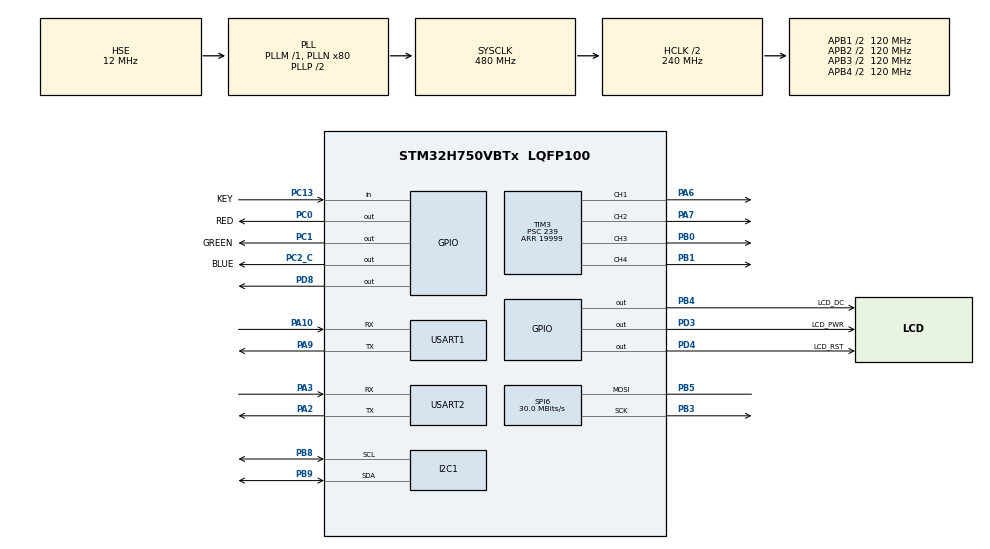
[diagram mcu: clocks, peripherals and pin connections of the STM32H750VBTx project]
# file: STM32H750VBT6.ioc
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CORTEX_M7.CPU_DCache=Enabled
CORTEX_M7.CPU_ICache=Enabled
CORTEX_M7.MPU_Control=__NULL
I2C1.Timing=0x307075B1
Mcu.Family=STM32H7
Mcu.Name=STM32H750VBTx
Mcu.Package=LQFP100
NVIC.PriorityGroup=NVIC_PRIORITYGROUP_2
NVIC.USART1_IRQn=true\:0\:0\:false\:false\:true\:true\:true\:true
NVIC.USART2_IRQn=true\:0\:0\:false\:false\:true\:true\:true\:true
PA10.Mode=Asynchronous
PA10.Signal=USART1_RX
PA13\ (JTMS/SWDIO).Mode=Serial_Wire
PA13\ (JTMS/SWDIO).Signal=DEBUG_JTMS-SWDIO
PA14\ (JTCK/SWCLK).Mode=Serial_Wire
PA14\ (JTCK/SWCLK).Signal=DEBUG_JTCK-SWCLK
PA2.Mode=Asynchronous
PA2.Signal=USART2_TX
PA3.Mode=Asynchronous
PA3.Signal=USART2_RX
PA6.Signal=S_TIM3_CH1
PA7.Signal=S_TIM3_CH2
PA9.Mode=Asynchronous
PA9.Signal=USART1_TX
PB0.Signal=S_TIM3_CH3
PB1.Signal=S_TIM3_CH4
PB3\ (JTDO/TRACESWO).GPIO_PuPd=GPIO_PULLUP
PB3\ (JTDO/TRACESWO).Mode=Simplex_Bidirectional_Master
PB3\ (JTDO/TRACESWO).Signal=SPI6_SCK
PB4\ (NJTRST).GPIO_Label=LCD_DC
PB4\ (NJTRST).GPIO_PuPd=GPIO_PULLUP
PB4\ (NJTRST).Signal=GPIO_Output
PB5.GPIO_PuPd=GPIO_PULLUP
PB5.Mode=Simplex_Bidirectional_Master
PB5.Signal=SPI6_MOSI
PB8.Mode=I2C
PB8.Signal=I2C1_SCL
PB9.Mode=I2C
PB9.Signal=I2C1_SDA
PC0.GPIO_Label=RED
PC0.GPIO_PuPd=GPIO_PULLUP
PC0.PinState=GPIO_PIN_SET
PC0.Signal=GPIO_Output
PC1.GPIO_Label=GREEN
PC1.GPIO_PuPd=GPIO_PULLUP
PC1.GPIO_Speed=GPIO_SPEED_FREQ_LOW
PC1.PinState=GPIO_PIN_SET
PC1.Signal=GPIO_Output
PC13.GPIO_Label=KEY
PC13.GPIO_PuPd=GPIO_PULLUP
PC13.Signal=GPIO_Input
PC14-OSC32_IN\ (OSC32_IN).Mode=LSE-External-Oscillator
PC14-OSC32_IN\ (OSC32_IN).Signal=RCC_OSC32_IN
PC15-OSC32_OUT\ (OSC32_OUT).Mode=LSE-External-Oscillator
PC15-OSC32_OUT\ (OSC32_OUT).Signal=RCC_OSC32_OUT
PC2_C.GPIO_Label=BLUE
PC2_C.GPIO_PuPd=GPIO_PULLUP
PC2_C.PinState=GPIO_PIN_SET
PC2_C.Signal=GPIO_Output
PD3.GPIO_Label=LCD_PWR
PD3.GPIO_PuPd=GPIO_PULLUP
PD3.Signal=GPIO_Output
PD4.GPIO_Label=LCD_RST
PD4.GPIO_PuPd=GPIO_PULLUP
PD4.Signal=GPIO_Output
PD8.Signal=GPIO_Output
PH0-OSC_IN\ (PH0).Mode=HSE-External-Oscillator
PH0-OSC_IN\ (PH0).Signal=RCC_OSC_IN
PH1-OSC_OUT\ (PH1).Mode=HSE-External-Oscillator
PH1-OSC_OUT\ (PH1).Signal=RCC_OSC_OUT
ProjectManager.HeapSize=0x800
ProjectManager.StackSize=0x800
ProjectManager.TargetToolchain=MDK-ARM V5
RCC.ADCFreq_Value=480000000
RCC.APB1Freq_Value=120000000
RCC.APB2Freq_Value=120000000
RCC.APB3Freq_Value=120000000
RCC.APB4Freq_Value=120000000
RCC.CortexFreq_Value=480000000
RCC.D1PPRE=RCC_APB3_DIV2
RCC.D2PPRE1=RCC_APB1_DIV2
RCC.D2PPRE2=RCC_APB2_DIV2
RCC.D3PPRE=RCC_APB4_DIV2
RCC.DIVM1=1
RCC.DIVM2=1
RCC.DIVM3=1
RCC.DIVN1=80
RCC.DIVN2=80
RCC.DIVN3=80
RCC.FLatency=FLASH_LATENCY_4
RCC.HCLKFreq_Value=240000000
RCC.HPRE=RCC_HCLK_DIV2
RCC.HSE_VALUE=12000000
RCC.PLLFRACN=0
RCC.PLLSourceVirtual=RCC_PLLSOURCE_HSE
RCC.PWR_Regulator_Voltage_Scale=PWR_REGULATOR_VOLTAGE_SCALE0
RCC.ProductRev=revV
RCC.SYSCLKFreq_VALUE=480000000
RCC.SYSCLKSource=RCC_SYSCLKSOURCE_PLLCLK
RCC.USBFreq_Value=480000000
SH.S_TIM3_CH1.0=TIM3_CH1,PWM Generation1 CH1
SH.S_TIM3_CH2.0=TIM3_CH2,PWM Generation2 CH2
SH.S_TIM3_CH3.0=TIM3_CH3,PWM Generation3 CH3
SH.S_TIM3_CH4.0=TIM3_CH4,PWM Generation4 CH4
SPI6.BaudRatePrescaler=SPI_BAUDRATEPRESCALER_4
SPI6.CLKPhase=SPI_PHASE_2EDGE
SPI6.CLKPolarity=SPI_POLARITY_HIGH
SPI6.CalculateBaudRate=30.0 MBits/s
SPI6.DataSize=SPI_DATASIZE_8BIT
SPI6.Direction=SPI_DIRECTION_1LINE
SPI6.Mode=SPI_MODE_MASTER
SPI6.VirtualType=VM_MASTER
TIM3.AutoReloadPreload=TIM_AUTORELOAD_PRELOAD_ENABLE
TIM3.Channel-PWM\ Generation1\ CH1=TIM_CHANNEL_1
TIM3.Channel-PWM\ Generation2\ CH2=TIM_CHANNEL_2
TIM3.Channel-PWM\ Generation3\ CH3=TIM_CHANNEL_3
TIM3.Channel-PWM\ Generation4\ CH4=TIM_CHANNEL_4
TIM3.Period=19999
TIM3.Prescaler=239
TIM3.Pulse-PWM\ Generation1\ CH1=18479
TIM3.Pulse-PWM\ Generation2\ CH2=18479
TIM3.Pulse-PWM\ Generation3\ CH3=18479
TIM3.Pulse-PWM\ Generation4\ CH4=18479
USART1.VirtualMode-Asynchronous=VM_ASYNC
USART2.VirtualMode-Asynchronous=VM_ASYNC
VP_TIM3_VS_ClockSourceINT.Mode=Internal
board=custom

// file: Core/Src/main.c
/* USER CODE BEGIN Header */
/**
  ******************************************************************************
  * @file           : main.c
  * @brief          : Main program body
  ******************************************************************************
  * @attention
  *
  * <h2><center>&copy; Copyright (c) 2021 STMicroelectronics.
  * All rights reserved.</center></h2>
  *
  * This software component is licensed by ST under BSD 3-Clause license,
  * the "License"; You may not use this file except in compliance with the
  * License. You may obtain a copy of the License at:
  *                        opensource.org/licenses/BSD-3-Clause
  *
  ******************************************************************************
  */
/* USER CODE END Header */
#include "main.h"
#include "i2c.h"
#include "spi.h"
#include "tim.h"
#include "usart.h"
#include "gpio.h"

/* USER CODE BEGIN Includes */
#include "BSP_GPIO.h"
#include "BSP_USART.h"
#include "BSP_spi.h"
#include "stdio.h"
#include "tftlcd.h"
#include "lora_cfg.h"
#include "mpu6050.h"
/* USER CODE END Includes */

/* USER CODE BEGIN PV */
u8 rx2_buf;
u8 gear=48;

short x;
short y;
short z;
float temp=0;
short ax=0;
short ay=0;
short az=0;
float temp_z_angle=0;
/* USER CODE END PV */

void SystemClock_Config(void);

/* USER CODE BEGIN 0 */
	char str[50] = {0};
	u8 t;
	char tbuf[40];

//LoRa模块配置参数
//设备参数初始化(具体设备参数见lora_cfg.h定义)
_LoRa_CFG LoRa_CFG=
{
	.addr = LORA_ADDR,       //设备地址
	.power = LORA_POWER,     //发射功率
	.chn = LORA_CHN,         //信道
	.wlrate = LORA_RATE,     //空中速率
	.wltime = LORA_WLTIME,   //睡眠时间
	.mode = LORA_MODE,       //工作模式
	.mode_sta = LORA_STA,    //发送状态
	.bps = LORA_TTLBPS ,     //波特率设置
	.parity = LORA_TTLPAR    //校验位设置
};

void LoRa_Set(void)
{
	u8 sendbuf[20];
	u8 lora_addrh,lora_addrl=0;

	HAL_GPIO_WritePin(GPIOD,GPIO_PIN_8,GPIO_PIN_SET); //进入配置模式
	HAL_Delay(40);

//	huart2.Instance = USART2;
//	huart2.Init.BaudRate = LORA_TTLBPS_115200;
//	UART_SetConfig(&huart2);
//	printf("lora_set begin\n\r");

	lora_addrh =  (LoRa_CFG.addr>>8)&0xff;
	lora_addrl = LoRa_CFG.addr&0xff;
	sprintf((char*)sendbuf,"AT+ADDR=%02x,%02x\n\r",lora_addrh,lora_addrl);//设置设备地址
	printf("%s",sendbuf);
	HAL_Delay(100);
	sprintf((char*)sendbuf,"AT+WLRATE=%d,%d\n\r",LoRa_CFG.chn,LoRa_CFG.wlrate);//设置信道和空中速率
	printf("%s",sendbuf);
	HAL_Delay(100);
	sprintf((char*)sendbuf,"AT+TPOWER=%d\n\r",LoRa_CFG.power);//设置发射功率
	printf("%s",sendbuf);
	HAL_Delay(100);
	sprintf((char*)sendbuf,"AT+CWMODE=%d\n\r",LoRa_CFG.mode);//设置工作模式
	printf("%s",sendbuf);
	HAL_Delay(100);
	sprintf((char*)sendbuf,"AT+TMODE=%d\n\r",LoRa_CFG.mode_sta);//设置发送状态
	printf("%s",sendbuf);
	HAL_Delay(100);
	sprintf((char*)sendbuf,"AT+WLTIME=%d\n\r",LoRa_CFG.wltime);//设置睡眠时间
	printf("%s",sendbuf);
	HAL_Delay(100);
	sprintf((char*)sendbuf,"AT+UART=%d,%d\n\r",LoRa_CFG.bps,LoRa_CFG.parity);//设置串口波特率、数据校验位
	printf("%s",sendbuf);
	HAL_Delay(100);

	HAL_GPIO_WritePin(GPIOD,GPIO_PIN_8,GPIO_PIN_RESET); //退出配置模式
	HAL_Delay(40);

//	usart3_set(LoRa_CFG.bps,LoRa_CFG.parity);//返回通信,更新通信串口配置(波特率、数据校验位)

//	huart2.Init.BaudRate = 9600;
//	HAL_UART_Init(&huart2);

}
/* USER CODE END 0 */

int main(void)
{
  /* USER CODE BEGIN 1 */
	u8 color = 0;
  /* USER CODE END 1 */

  /* Enable I-Cache---------------------------------------------------------*/
  SCB_EnableICache();

  /* Enable D-Cache---------------------------------------------------------*/
  SCB_EnableDCache();

  /* MCU Configuration--------------------------------------------------------*/

  /* Reset of all peripherals, Initializes the Flash interface and the Systick. */
  HAL_Init();

  /* Configure the system clock */
  SystemClock_Config();

  /* Initialize all configured peripherals */
  MX_GPIO_Init();
  MX_USART1_UART_Init();
  MX_SPI6_Init();
  MX_USART2_UART_Init();
  MX_TIM3_Init();
  MX_I2C1_Init();
  /* USER CODE BEGIN 2 */
//  printf("begin\n\r");
  HAL_UART_Receive_IT(&huart2, &rx2_buf, 1);
	HAL_TIM_PWM_Start(&htim3, TIM_CHANNEL_1);
	HAL_TIM_PWM_Start(&htim3, TIM_CHANNEL_2);
	HAL_TIM_PWM_Start(&htim3, TIM_CHANNEL_3);
	HAL_TIM_PWM_Start(&htim3, TIM_CHANNEL_4);

	MPU_Init();

	__HAL_SPI_ENABLE(&hspi6);
	LCD_Init();
	LCD_Clear(BLACK); 		//清屏
	BACK_COLOR=BLACK;
	POINT_COLOR=CYAN;
	LCD_ShowString(0, 0, 160, 12, 12, "TFTLCD 240*135");
	LoRa_Set();
  /* USER CODE END 2 */

  /* Infinite loop */
  /* USER CODE BEGIN WHILE */
  while (1)
  {
		switch(color%7)
		{
			case 0:
				LED_R(0);
				LED_G(1);
				LED_B(1);
				break;
			case 1:
				LED_R(1);
				LED_G(0);
				LED_B(1);
				break;
			case 2:
				LED_R(1);
				LED_G(1);
				LED_B(0);
				break;
			case 3:
				LED_R(0);
				LED_G(0);
				LED_B(1);
				break;
			case 4:
				LED_R(0);
				LED_G(1);
				LED_B(0);
				break;
			case 5:
				LED_R(1);
				LED_G(0);
				LED_B(0);
				break;
			case 6:
				LED_R(0);
				LED_G(0);
				LED_B(0);
				break;
			default:
				break;
		}
		color++;

		t++;
		sprintf(str,"[t]%4d",t);
		LCD_ShowString(0, 15, 240, 12, 12, str);
		sprintf(str,"[rx2_buf]%d",(u8)gear);
		LCD_ShowString(0, 30, 240, 12, 12, str);

//		MPU_Get_Gyroscope(&x,&y,&z);
//		HAL_Delay(100);
//		sprintf(str,"x=%8x,y=%8x,z=%8x",x,y,z);
//		LCD_Fill(0,60,239,74,BLACK);
//		LCD_ShowString(0, 60, 240, 12, 12, str);
//		sprintf(str,"x=%f,y=%f,z=%f",x*2.0f/32768,y*2.0f/32768,z*2.0f/32768);
//		LCD_Fill(0,75,239,89,BLACK);
//		LCD_ShowString(0, 75, 240, 12, 12, str);
//		temp=MPU_Get_Temperature();
//		HAL_Delay(100);
//		sprintf(str,"[temp]%f",temp);
//		LCD_Fill(0,90,239,104,BLACK);
//		LCD_ShowString(0, 90, 240, 12, 12, str);

		MPU_Get_Accelerometer(&ax,&ay,&az);
		HAL_Delay(100);
		sprintf(str,"[original]ax=%d,ay=%d,az=%d",ax,ay,az);
		LCD_Fill(0,45,239,59,BLACK);
		LCD_ShowString(0,45, 240, 12, 12, str);
		sprintf(str,"[stress]x=%.2fg,y=%.2fg,z=%.2fg",(ax-X_ACCEL_OFFSET)*2.0f/32768,(ay-Y_ACCEL_OFFSET)*2.0f/32768,(az-Z_ACCEL_OFFSET)*2.0f/32768);
		LCD_Fill(0,60,239,74,BLACK);
		LCD_ShowString(0, 60, 240, 12, 12, str);
		temp_z_angle=(az-Z_ACCEL_OFFSET)*2.0f/32768;
		if(temp_z_angle>1)
			temp_z_angle=1;
		sprintf(str,"[angle]x=%.2f,y=%.2f,z=%.2f",acos((ax-X_ACCEL_OFFSET)*2.0f/32768)*57.29577,acos((ay-Y_ACCEL_OFFSET)*2.0f/32768)*57.29577,acos(temp_z_angle)*57.29577);
		LCD_Fill(0,75,239,89,BLACK);
		LCD_ShowString(0, 75, 240, 12, 12, str);
		sprintf(str,"[test]a=%f",acos(1));
		LCD_ShowString(0, 90, 240, 12, 12, str);
		if(gear==0x00)
		{
			__HAL_TIM_SET_COMPARE(&htim3,TIM_CHANNEL_1,18479);	//停止
			__HAL_TIM_SET_COMPARE(&htim3,TIM_CHANNEL_2,18479);	//停止
			__HAL_TIM_SET_COMPARE(&htim3,TIM_CHANNEL_3,18479);	//停止
		}
		else if(gear==0x04)//直行
		{
			__HAL_TIM_SET_COMPARE(&htim3,TIM_CHANNEL_1,18649);	//3档，速度合适，可以稍微加大
			__HAL_TIM_SET_COMPARE(&htim3,TIM_CHANNEL_2,18649);	//3档，速度合适，可以稍微加大
		}
		else if(gear==0x10)//左转
		{
			__HAL_TIM_SET_COMPARE(&htim3,TIM_CHANNEL_1,18559);
			__HAL_TIM_SET_COMPARE(&htim3,TIM_CHANNEL_2,18699);
		}
		else if(gear==0x20)//右转
		{
			__HAL_TIM_SET_COMPARE(&htim3,TIM_CHANNEL_1,18699);
			__HAL_TIM_SET_COMPARE(&htim3,TIM_CHANNEL_2,18559);
		}
		else if(gear==0x14)//左转幅度小一点
		{
			__HAL_TIM_SET_COMPARE(&htim3,TIM_CHANNEL_1,18559);
			__HAL_TIM_SET_COMPARE(&htim3,TIM_CHANNEL_2,18659);
		}
		else if(gear==0x24)//右转幅度小一点
		{
			__HAL_TIM_SET_COMPARE(&htim3,TIM_CHANNEL_1,18659);
			__HAL_TIM_SET_COMPARE(&htim3,TIM_CHANNEL_2,18559);
		}
//		HAL_Delay(500);
    /* USER CODE END WHILE */

  }
}

void SystemClock_Config(void)
{
  RCC_OscInitTypeDef RCC_OscInitStruct = {0};
  RCC_ClkInitTypeDef RCC_ClkInitStruct = {0};

  /** Supply configuration update enable
  */
  HAL_PWREx_ConfigSupply(PWR_LDO_SUPPLY);
  /** Configure the main internal regulator output voltage
  */
  __HAL_PWR_VOLTAGESCALING_CONFIG(PWR_REGULATOR_VOLTAGE_SCALE0);

  while(!__HAL_PWR_GET_FLAG(PWR_FLAG_VOSRDY)) {}
  /** Initializes the RCC Oscillators according to the specified parameters
  * in the RCC_OscInitTypeDef structure.
  */
  RCC_OscInitStruct.OscillatorType = RCC_OSCILLATORTYPE_HSE;
  RCC_OscInitStruct.HSEState = RCC_HSE_ON;
  RCC_OscInitStruct.PLL.PLLState = RCC_PLL_ON;
  RCC_OscInitStruct.PLL.PLLSource = RCC_PLLSOURCE_HSE;
  RCC_OscInitStruct.PLL.PLLM = 1;
  RCC_OscInitStruct.PLL.PLLN = 80;
  RCC_OscInitStruct.PLL.PLLP = 2;
  RCC_OscInitStruct.PLL.PLLQ = 2;
  RCC_OscInitStruct.PLL.PLLR = 2;
  RCC_OscInitStruct.PLL.PLLRGE = RCC_PLL1VCIRANGE_3;
  RCC_OscInitStruct.PLL.PLLVCOSEL = RCC_PLL1VCOWIDE;
  RCC_OscInitStruct.PLL.PLLFRACN = 0;
  if (HAL_RCC_OscConfig(&RCC_OscInitStruct) != HAL_OK)
  {
    Error_Handler();
  }
  /** Initializes the CPU, AHB and APB buses clocks
  */
  RCC_ClkInitStruct.ClockType = RCC_CLOCKTYPE_HCLK|RCC_CLOCKTYPE_SYSCLK
                              |RCC_CLOCKTYPE_PCLK1|RCC_CLOCKTYPE_PCLK2
                              |RCC_CLOCKTYPE_D3PCLK1|RCC_CLOCKTYPE_D1PCLK1;
  RCC_ClkInitStruct.SYSCLKSource = RCC_SYSCLKSOURCE_PLLCLK;
  RCC_ClkInitStruct.SYSCLKDivider = RCC_SYSCLK_DIV1;
  RCC_ClkInitStruct.AHBCLKDivider = RCC_HCLK_DIV2;
  RCC_ClkInitStruct.APB3CLKDivider = RCC_APB3_DIV2;
  RCC_ClkInitStruct.APB1CLKDivider = RCC_APB1_DIV2;
  RCC_ClkInitStruct.APB2CLKDivider = RCC_APB2_DIV2;
  RCC_ClkInitStruct.APB4CLKDivider = RCC_APB4_DIV2;

  if (HAL_RCC_ClockConfig(&RCC_ClkInitStruct, FLASH_LATENCY_4) != HAL_OK)
  {
    Error_Handler();
  }
}

/* USER CODE BEGIN 4 */
/**
	* @brief          串口接收中断回调函数
  * @param[in]     	huart 串口序号
  * @retval         none
  */
void HAL_UART_RxCpltCallback(UART_HandleTypeDef *huart)
{
//	if(huart->Instance==USART2)
//	{
	if(huart==&huart2)
	{
		gear=rx2_buf;
		HAL_UART_Receive_IT(&huart2, &rx2_buf, 1);

	}

}
/* USER CODE END 4 */

void Error_Handler(void)
{
  __disable_irq();
  while (1)
  {
  }
}

/************************ (C) COPYRIGHT STMicroelectronics *****END OF FILE****/
